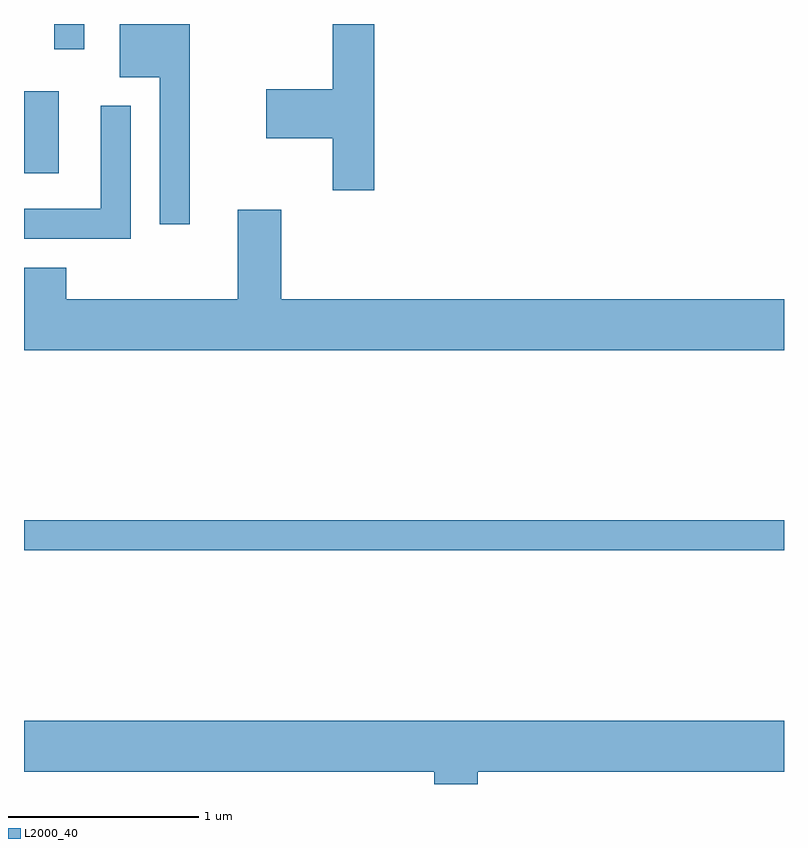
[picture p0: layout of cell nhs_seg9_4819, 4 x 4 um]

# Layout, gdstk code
import gdstk
lib = gdstk.Library(unit=1e-6, precision=1e-09)
def R(c, l, rs):  # rectangles x0, y0, x1, y1
    for r in rs: c.add(gdstk.rectangle(r[:2], r[2:], *l))
def P(c, l, *ps):  # polygons
    for p in ps: c.add(gdstk.Polygon(p, *l))
L2000_40 = (2000, 40)

nhs_seg9_4819 = lib.new_cell('nhs_seg9_4819')
R(nhs_seg9_4819, L2000_40, [(327.611,1979.661,331.611,1979.819), (327.611,1981.646,327.794,1982.079), (327.771,1982.298,327.929,1982.432)])
P(nhs_seg9_4819, L2000_40, [(329.454,1982.432),(329.236,1982.432),(329.236,1982.089),(328.886,1982.089),(328.886,1981.831),(329.236,1981.831),(329.236,1981.556),(329.454,1981.556)],
  [(328.484,1982.432),(328.116,1982.432),(328.116,1982.151),(328.326,1982.151),(328.326,1981.378),(328.484,1981.378)],
  [(328.174,1982.003),(328.016,1982.003),(328.016,1981.459),(327.611,1981.459),(327.611,1981.301),(328.174,1981.301)],
  [(331.611,1980.984),(328.964,1980.984),(328.964,1981.454),(328.736,1981.454),(328.736,1980.984),(327.834,1980.984),(327.834,1981.149),(327.611,1981.149),(327.611,1980.716),(331.611,1980.716)],
  [(329.999,1978.496),(331.611,1978.496),(331.611,1978.764),(327.611,1978.764),(327.611,1978.496),(329.771,1978.496),(329.771,1978.432),(329.999,1978.432)])

lib.write_gds('nhs_seg9_4819.gds')
